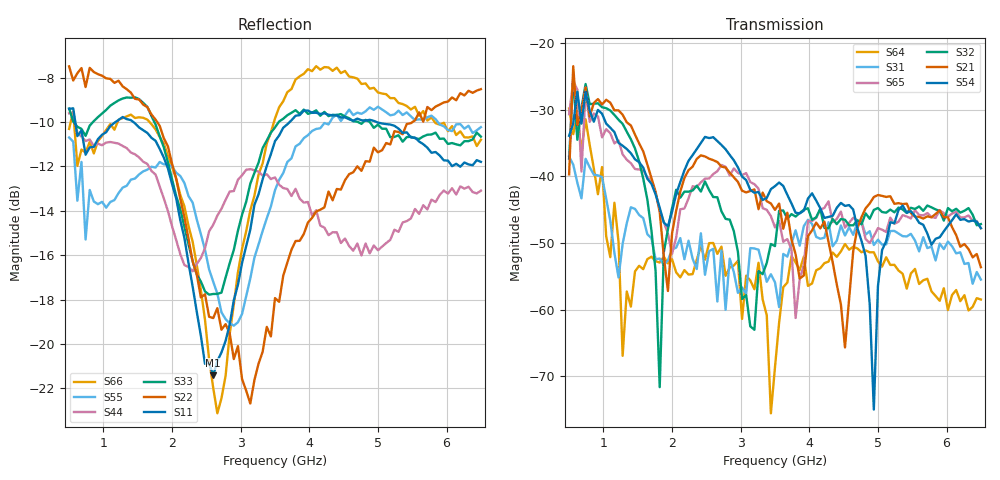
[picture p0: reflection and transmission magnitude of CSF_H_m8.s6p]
!Keysight Technologies,M9804A,MY58100912,A.14.10.03
!Date: Thursday, April 27, 2023 10:28:33
!Correction: S11(C  6-Port  )
!S12(C  6-Port  )
!S13(C  6-Port  )
!S14(C  6-Port  )
!S15(C  6-Port  )
!S16(C  6-Port  )
!S21(C  6-Port  )
!S22(C  6-Port  )
!S23(C  6-Port  )
!S24(C  6-Port  )
!S25(C  6-Port  )
!S26(C  6-Port  )
!S31(C  6-Port  )
!S32(C  6-Port  )
!S33(C  6-Port  )
!S34(C  6-Port  )
!S35(C  6-Port  )
!S36(C  6-Port  )
!S41(C  6-Port  )
!S42(C  6-Port  )
!S43(C  6-Port  )
!S44(C  6-Port  )
!S45(C  6-Port  )
!S46(C  6-Port  )
!S51(C  6-Port  )
!S52(C  6-Port  )
!S53(C  6-Port  )
!S54(C  6-Port  )
!S55(C  6-Port  )
!S56(C  6-Port  )
!S61(C  6-Port  )
!S62(C  6-Port  )
!S63(C  6-Port  )
!S64(C  6-Port  )
!S65(C  6-Port  )
!S66(C  6-Port  )
!S6P File: Measurement: :
# Hz S  RI  R 50
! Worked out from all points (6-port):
!   101 points, 500 MHz to 6.5 GHz, reference 50 ohm
!   strongest paths, dB at 500 MHz, 2 GHz, 3.5 GHz, 5 GHz, 6.5 GHz:
!     S54: -33.9, -45.3, -41.5, -56.5, -47.8
!     S21: -39.7, -48.5, -45.0, -42.8, -53.6
!     S32: -37.3, -44.8, -50.5, -44.7, -47.2
!     S65: -30.7, -51.6, -47.7, -47.8, -47.8
!     S31: -37.0, -50.9, -55.9, -49.5, -55.5
!     S64: -29.8, -52.4, -68.6, -52.8, -58.5
!   lowest |S11| = -21.4 dB at 2.6 GHz (marker M1), VSWR 1.19, Z = 42.5 + j2.19 ohm
!   |S11| at or under -10 dB: 589.8 MHz to 1.175 GHz (585.1 MHz wide, 66.3 % of centre); 1.437 GHz to 3.713 GHz (2.275 GHz wide, 88.4 % of centre); 4.983 GHz to end of sweep
